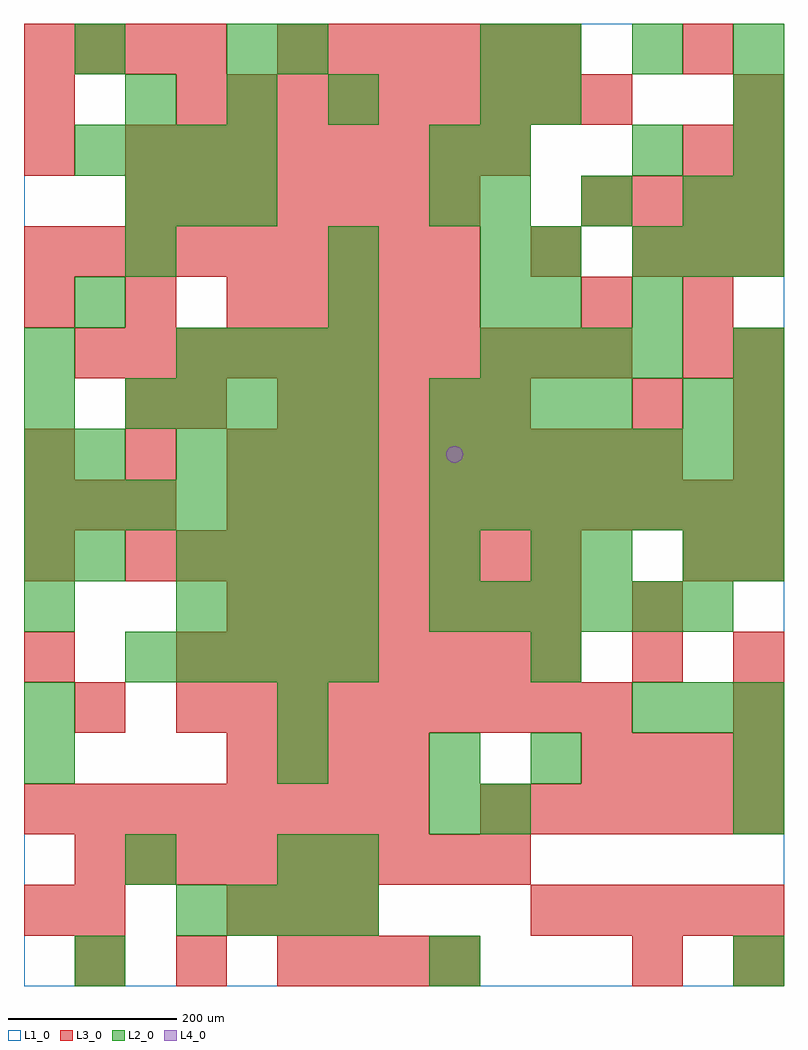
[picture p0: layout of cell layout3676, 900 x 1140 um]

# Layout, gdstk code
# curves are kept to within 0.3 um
import gdstk
lib = gdstk.Library(unit=1e-6, precision=1e-09)
def R(c, l, rs):  # rectangles x0, y0, x1, y1
    for r in rs: c.add(gdstk.rectangle(r[:2], r[2:], *l))
def A(c, l, x, y, w, h, nx, ny, dx, dy):  # array of equal rectangles
    R(c, l, [(x+i*dx, y+j*dy, x+i*dx+w, y+j*dy+h) for i in range(nx) for j in range(ny)])
def P(c, l, *ps):  # polygons
    for p in ps: c.add(gdstk.Polygon(p, *l))
L1_0 = (1, 0)
L2_0 = (2, 0)
L3_0 = (3, 0)
L4_0 = (4, 0)

layout3676 = lib.new_cell('layout3676')
R(layout3676, L1_0, [(0,0,900,1140)])
A(layout3676, L2_0, 180, 60, 60, 60, 4, 2, 60, 360)
A(layout3676, L2_0, 600, 240, 60, 60, 1, 3, 0, 120)
A(layout3676, L2_0, 720, 300, 60, 60, 3, 2, 60, 540)
A(layout3676, L2_0, 120, 360, 60, 60, 5, 2, 60, 300)
A(layout3676, L2_0, 480, 420, 60, 60, 6, 1, 60, 0)
A(layout3676, L2_0, 180, 480, 60, 60, 4, 3, 60, 120)
A(layout3676, L2_0, 0, 540, 60, 60, 7, 1, 60, 0)
A(layout3676, L2_0, 480, 540, 60, 60, 7, 2, 60, 60)
A(layout3676, L2_0, 0, 600, 60, 60, 1, 3, 0, 60)
A(layout3676, L2_0, 480, 660, 60, 60, 4, 1, 60, 0)
A(layout3676, L2_0, 540, 720, 60, 60, 4, 1, 60, 0)
A(layout3676, L2_0, 120, 900, 60, 60, 3, 1, 60, 0)
A(layout3676, L2_0, 540, 900, 60, 60, 3, 1, 120, 0)
A(layout3676, L2_0, 840, 900, 60, 60, 1, 3, 0, 60)
A(layout3676, L2_0, 60, 960, 60, 60, 4, 1, 60, 0)
A(layout3676, L2_0, 540, 960, 60, 60, 1, 3, 0, 60)
A(layout3676, L2_0, 120, 1020, 60, 60, 3, 1, 120, 0)
A(layout3676, L2_0, 600, 1080, 60, 60, 3, 1, 120, 0)
R(layout3676, L2_0, [(60,0,120,60), (480,0,540,60), (840,0,900,60), (120,120,180,180), (300,120,360,180), (360,120,420,180), (480,180,540,240), (540,180,600,240), (840,180,900,240), (0,240,60,300), (300,240,360,300), (480,240,540,300), (840,240,900,300), (0,300,60,360), (300,300,360,360), (0,420,60,480), (0,480,60,540), (60,480,120,540), (480,480,540,540), (660,480,720,540), (780,480,840,540), (840,480,900,540), (60,600,120,660), (780,660,840,720), (840,660,900,720), (840,720,900,780), (60,780,120,840), (360,780,420,840), (540,780,600,840), (600,780,660,840), (720,780,780,840), (120,840,180,900), (360,840,420,900), (540,840,600,900), (600,840,660,900), (480,900,540,960), (480,960,540,1020), (720,960,780,1020), (600,1020,660,1080), (60,1080,120,1140), (240,1080,300,1140), (300,1080,360,1140)])
A(layout3676, L3_0, 60, 0, 60, 60, 3, 1, 120, 0)
A(layout3676, L3_0, 360, 0, 60, 60, 3, 1, 60, 0)
A(layout3676, L3_0, 240, 60, 60, 60, 3, 1, 60, 0)
A(layout3676, L3_0, 600, 60, 60, 60, 5, 1, 60, 0)
A(layout3676, L3_0, 60, 120, 60, 60, 9, 1, 60, 0)
A(layout3676, L3_0, 0, 180, 60, 60, 8, 1, 60, 0)
A(layout3676, L3_0, 540, 180, 60, 60, 6, 1, 60, 0)
A(layout3676, L3_0, 240, 240, 60, 60, 4, 1, 60, 0)
A(layout3676, L3_0, 660, 240, 60, 60, 4, 2, 60, 660)
A(layout3676, L3_0, 180, 300, 60, 60, 9, 2, 60, 720)
A(layout3676, L3_0, 180, 360, 60, 60, 8, 1, 60, 0)
A(layout3676, L3_0, 840, 360, 60, 60, 1, 3, 0, 120)
A(layout3676, L3_0, 240, 420, 60, 60, 7, 1, 60, 0)
A(layout3676, L3_0, 120, 480, 60, 60, 9, 1, 60, 0)
A(layout3676, L3_0, 0, 540, 60, 60, 3, 1, 60, 0)
A(layout3676, L3_0, 240, 540, 60, 60, 11, 1, 60, 0)
A(layout3676, L3_0, 0, 600, 60, 60, 3, 2, 120, 180)
A(layout3676, L3_0, 300, 600, 60, 60, 8, 1, 60, 0)
A(layout3676, L3_0, 300, 660, 60, 60, 5, 1, 60, 0)
A(layout3676, L3_0, 60, 720, 60, 60, 11, 1, 60, 0)
A(layout3676, L3_0, 300, 780, 60, 60, 4, 1, 60, 0)
A(layout3676, L3_0, 0, 840, 60, 60, 9, 1, 60, 0)
A(layout3676, L3_0, 720, 840, 60, 60, 3, 1, 60, 0)
A(layout3676, L3_0, 120, 900, 60, 60, 7, 1, 60, 0)
A(layout3676, L3_0, 120, 960, 60, 60, 8, 1, 60, 0)
A(layout3676, L3_0, 0, 1080, 60, 60, 4, 1, 60, 0)
A(layout3676, L3_0, 300, 1080, 60, 60, 6, 1, 60, 0)
R(layout3676, L3_0, [(720,0,780,60), (840,0,900,60), (0,60,60,120), (60,60,120,120), (60,300,120,360), (840,300,900,360), (0,360,60,420), (720,360,780,420), (720,420,780,480), (0,480,60,540), (780,480,840,540), (120,660,180,720), (180,660,240,720), (720,660,780,720), (840,660,900,720), (780,720,840,780), (840,720,900,780), (660,780,720,840), (780,780,840,840), (600,840,660,900), (0,960,60,1020), (780,960,840,1020), (840,960,900,1020), (0,1020,60,1080), (840,1020,900,1080), (780,1080,840,1140)])
P(layout3676, L4_0, [(520,630),(519.239,633.827),(517.071,637.071),(513.827,639.239),(510,640),(506.173,639.239),(502.929,637.071),(500.761,633.827),(500,630),(500.761,626.173),(502.929,622.929),(506.173,620.761),(510,620),(513.827,620.761),(517.071,622.929),(519.239,626.173)])

lib.write_gds('layout3676.gds')
